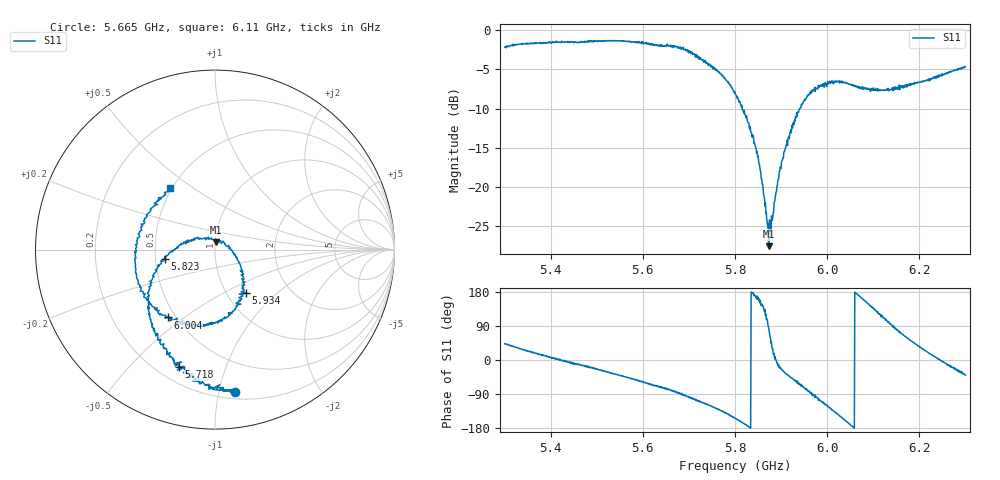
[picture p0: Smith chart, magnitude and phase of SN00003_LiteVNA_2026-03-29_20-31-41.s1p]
! NanoVNA-App
! Date: 2026-03-29 20:32:39
! Start: 5.3GHz Stop: 6.3GHz Points: 1001
! S-Parameter data: F S11
# Hz S RI R 50
!  Frequency  S11_Real  S11_Imag
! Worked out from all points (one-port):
!   1001 points, 5.3 GHz to 6.3 GHz, reference 50 ohm
!   lowest |S11| = -27.6 dB at 5.873 GHz (marker M1), VSWR 1.09, Z = 50.2 + j4.16 ohm
!   |S11| at or under -10 dB: 5.816 GHz to 5.941 GHz (124.8 MHz wide, 2.12 % of centre)
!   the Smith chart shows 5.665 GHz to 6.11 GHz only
!   S11 on the Smith chart (normalised r, x): 5.665 GHz: 0.26, -1.12; 5.718 GHz: 0.28, -0.70; 5.823 GHz: 0.56, -0.06; 5.934 GHz: 1.23, -0.65; 6.004 GHz: 0.45, -0.43; 6.11 GHz: 0.49, +0.40
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5.3e9  0.5735 0.5314
5.351e9  0.7589 0.3273
5.425e9  0.8459 -0.01
5.494e9  0.7942 -0.3305
5.55e9  0.6484 -0.5666
5.603e9  0.418 -0.7142
5.665e9  0.1141 -0.7912
5.675e9  0.0503 -0.7811
5.718e9  -0.2014 -0.655
5.763e9  -0.3483 -0.4246
5.8e9  -0.3629 -0.1769
5.823e9  -0.28 -0.0498
5.85e9  -0.1517 0.0395
5.873e9  0.00341 0.0414
5.878e9  0.035 0.0342
5.901e9  0.1299 -0.062
5.925e9  0.1538 -0.1816
5.934e9  0.1732 -0.2432
5.968e9  -0.0262 -0.4144
6.004e9  -0.2645 -0.3781
6.05e9  -0.4448 -0.0759
6.08e9  -0.3991 0.1592
6.11e9  -0.2527 0.3406
6.142e9  0.0176 0.4309
6.175e9  0.2446 0.3802
6.235e9  0.494 0.0647
6.269e9  0.5264 -0.1564
6.3e9  0.4478 -0.3758
